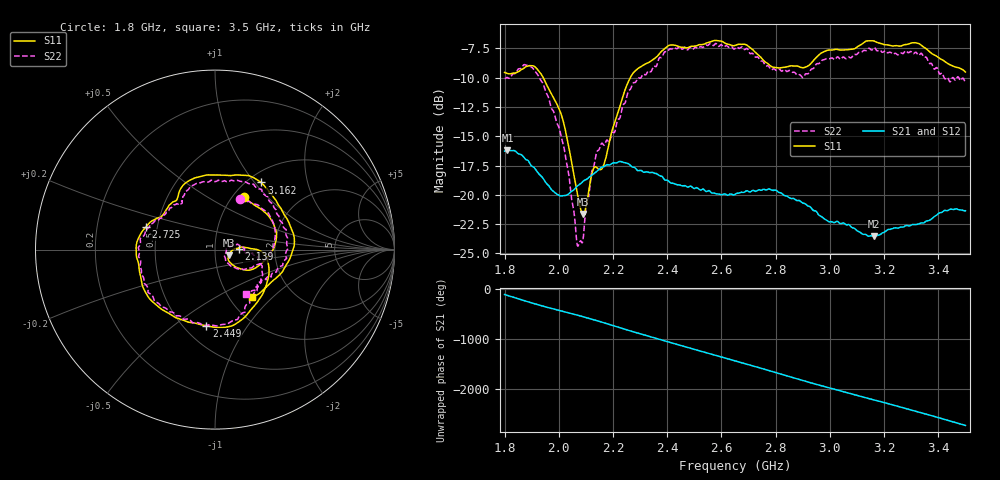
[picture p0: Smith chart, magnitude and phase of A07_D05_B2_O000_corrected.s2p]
! Created with skrf 1.9.0 (http://scikit-rf.org).
# Hz S RI R 50.0
!freq ReS11 ImS11 ReS21 ImS21 ReS12 ImS12 ReS22 ImS22
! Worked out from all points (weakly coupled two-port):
!   1601 points, 1.8 GHz to 3.5 GHz, reference 50 ohm
!   highest |S21| = -16.18 dB at 1.811 GHz (marker M1); lowest = -23.5 dB at 3.162 GHz (marker M2)
!   lowest |S11| = -21.6 dB at 2.09 GHz (marker M3), VSWR 1.18, Z = 58.2 - j3.62 ohm
!   |S11| at or under -10 dB: 1.943 GHz to 2.264 GHz (320.7 MHz wide, 15.2 % of centre)
!   |S22| runs from -24.4 to -7.1 dB; largest |S21 - S12| = 0.0029
!   S11 on the Smith chart (normalised r, x): 1.8 GHz: 1.13, +0.74; 2.139 GHz: 1.30, +0.01; 2.449 GHz: 0.64, -0.66; 2.725 GHz: 0.43, +0.13; 3.162 GHz: 1.15, +1.08; 3.5 GHz: 1.27, -0.75
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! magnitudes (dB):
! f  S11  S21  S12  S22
! 1.8 GHz  -9.5  -16.3  -16.3  -10.1
! 1.811 GHz  -9.6  -16.2  -16.2  -10.0
! 1.881 GHz  -9.0  -17.0  -17.0  -8.9
! 1.941 GHz  -9.9  -18.6  -18.6  -10.5
! 2.014 GHz  -13.5  -20.1  -20.1  -15.5
! 2.068 GHz  -19.8  -19.3  -19.3  -24.3
! 2.084 GHz  -21.4  -19.0  -18.9  -24.0
! 2.09 GHz  -21.6  -18.8  -18.9  -23.7
! 2.139 GHz  -17.6  -18.0  -18.0  -16.4
! 2.166 GHz  -17.5  -17.6  -17.6  -15.8
! 2.205 GHz  -13.9  -17.3  -17.3  -14.7
! 2.265 GHz  -9.9  -17.5  -17.5  -10.9
! 2.367 GHz  -8.1  -18.3  -18.2  -8.5
! 2.449 GHz  -7.4  -19.2  -19.2  -7.4
! 2.65 GHz  -7.2  -20.0  -19.9  -7.5
! 2.725 GHz  -7.8  -19.7  -19.7  -8.2
! 2.797 GHz  -9.1  -19.6  -19.6  -9.3
! 2.934 GHz  -8.7  -21.2  -21.2  -9.2
! 3.162 GHz  -6.9  -23.5  -23.5  -7.5
! 3.217 GHz  -7.2  -22.9  -22.9  -7.9
! 3.324 GHz  -7.1  -22.5  -22.5  -8.0
! 3.5 GHz  -9.5  -21.4  -21.4  -10.4
